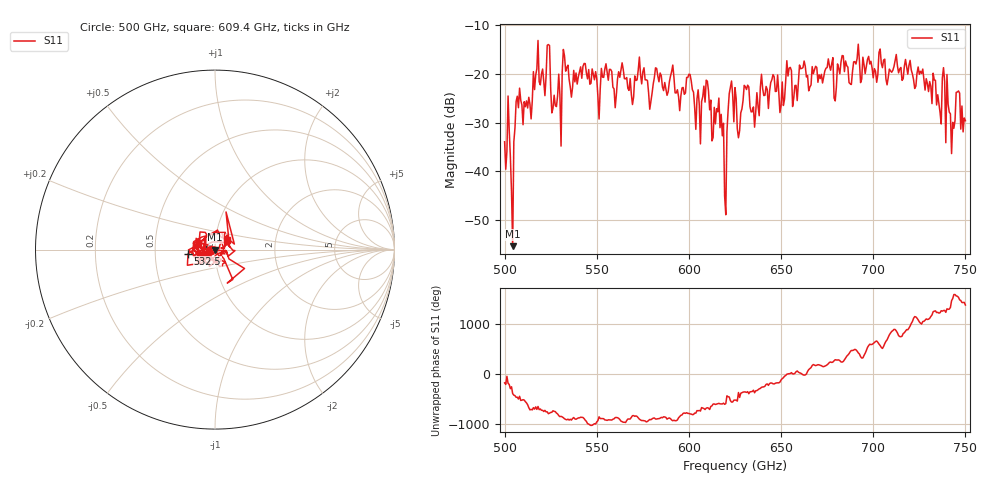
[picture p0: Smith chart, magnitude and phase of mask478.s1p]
!Created with skrf (http://scikit-rf.org).
# GHz S MA R 50.0
!freq magS11 angS11
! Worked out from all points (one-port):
!   401 points, 500 GHz to 750 GHz, reference 50 ohm
!   lowest |S11| = -55.3 dB at 504.4 GHz (marker M1), VSWR 1.00, Z = 50.1 - j0.0855 ohm
!   |S11| at or under -10 dB: start of sweep to end of sweep
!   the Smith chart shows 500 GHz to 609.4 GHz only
!   S11 on the Smith chart (normalised r, x): 500 GHz: 0.96, -0.00; 532.5 GHz: 0.74, -0.04; 609.4 GHz: 1.13, +0.13
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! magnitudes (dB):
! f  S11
! 500 GHz  -33.9
! 504.4 GHz  -55.3
! 507.5 GHz  -27.0
! 513.8 GHz  -26.2
! 516.9 GHz  -20.3
! 523.8 GHz  -14.1
! 526.9 GHz  -24.4
! 531.2 GHz  -19.6
! 532.5 GHz  -16.4
! 550.6 GHz  -24.7
! 562.5 GHz  -20.7
! 579.4 GHz  -25.7
! 590.6 GHz  -19.6
! 593.8 GHz  -23.3
! 600 GHz  -20.1
! 605 GHz  -23.3
! 609.4 GHz  -21.3
! 613.1 GHz  -33.0
! 617.5 GHz  -28.3
! 619.4 GHz  -45.1
! 622.5 GHz  -22.8
! 625 GHz  -22.9
! 627.5 GHz  -31.7
! 631.2 GHz  -23.2
! 656.2 GHz  -26.7
! 687.5 GHz  -22.1
! 718.8 GHz  -20.1
! 750 GHz  -29.6
